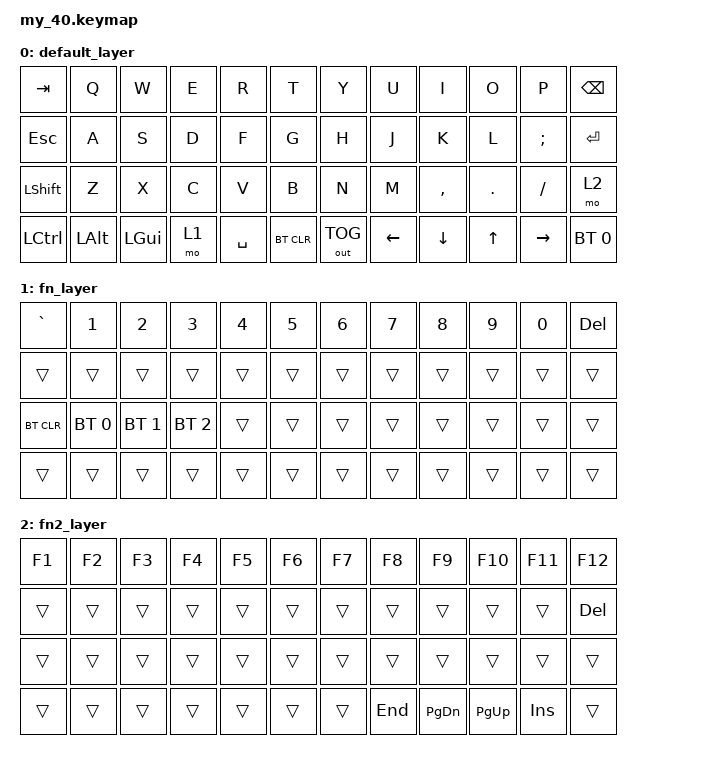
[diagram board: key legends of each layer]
#include <behaviors.dtsi>
#include <dt-bindings/zmk/keys.h>
#include <dt-bindings/zmk/bt.h>
#include <dt-bindings/zmk/outputs.h>

/ {
    combos {
        compatible = "zmk,combos";

        /* Press Tab + Q (top left 2 keys) together to Clear BT bond */
        combo_bt_clr {
            timeout-ms = <50>;
            key-positions = <0 1>;
            bindings = <&bt BT_CLR>;
        };

        /* Press LCtrl + LAlt (bottom left 2 keys) together to Select Profile 0 */
        combo_bt_sel0 {
            timeout-ms = <50>;
            key-positions = <36 37>;
            bindings = <&bt BT_SEL 0>;
        };
    };

    keymap {
        compatible = "zmk,keymap";

        default_layer {
            bindings = <
                &kp TAB       &kp Q     &kp W     &kp E      &kp R      &kp T      &kp Y      &kp U     &kp I      &kp O     &kp P     &kp BSPC
                &kp ESC       &kp A     &kp S     &kp D      &kp F      &kp G      &kp H      &kp J     &kp K      &kp L     &kp SEMI  &kp RET
                &kp LSHFT     &kp Z     &kp X     &kp C      &kp V      &kp B      &kp N      &kp M     &kp COMMA  &kp DOT   &kp FSLH  &mo 2
                &kp LCTRL     &kp LALT  &kp LGUI  &mo 1      &kp SPACE  &bt BT_CLR &out OUT_TOG &kp LEFT &kp DOWN   &kp UP    &kp RIGHT &bt BT_SEL 0
            >;
        };

        fn_layer {
            bindings = <
                &kp GRAVE     &kp N1    &kp N2    &kp N3     &kp N4     &kp N5     &kp N6     &kp N7    &kp N8     &kp N9    &kp N0    &kp DEL
                &trans        &trans    &trans    &trans     &trans     &trans     &trans     &trans    &trans     &trans    &trans    &trans
                &bt BT_CLR    &bt BT_SEL 0 &bt BT_SEL 1 &bt BT_SEL 2 &trans &trans &trans   &trans    &trans     &trans    &trans    &trans
                &trans        &trans    &trans    &trans     &trans     &trans     &trans     &trans    &trans     &trans    &trans    &trans
            >;
        };

        fn2_layer {
            bindings = <
                &kp F1        &kp F2    &kp F3    &kp F4     &kp F5     &kp F6     &kp F7     &kp F8    &kp F9     &kp F10   &kp F11   &kp F12
                &trans        &trans    &trans    &trans     &trans     &trans     &trans     &trans    &trans     &trans    &trans    &kp DEL
                &trans        &trans    &trans    &trans     &trans     &trans     &trans     &trans    &trans     &trans    &trans    &trans
                &trans        &trans    &trans    &trans     &trans     &trans     &trans     &kp END  &kp PG_DN   &kp PG_UP &kp INS   &trans
            >;
        };
    };
};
